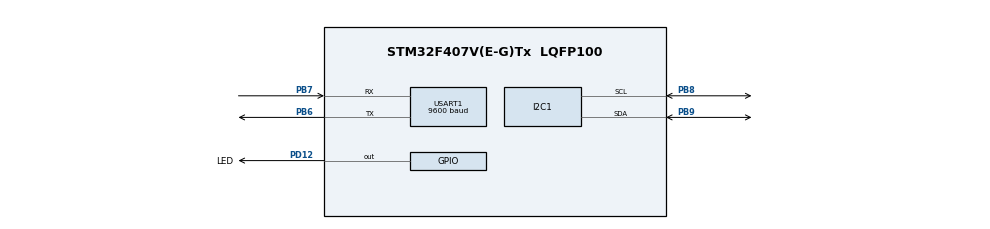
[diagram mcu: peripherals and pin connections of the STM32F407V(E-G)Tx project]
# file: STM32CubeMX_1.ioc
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ADC1.Channel-0\#ChannelRegularConversion=ADC_CHANNEL_TEMPSENSOR
ADC1.EnableAnalogWatchDog=true
ADC1.HighThreshold=2000
ADC1.ITMode=ENABLE
ADC1.InjNumberOfConversion=0
ADC1.LowThreshold=1000
ADC1.NbrOfConversion=1
ADC1.NbrOfConversionFlag=1
ADC1.Rank-0\#ChannelRegularConversion=1
ADC1.SamplingTime-0\#ChannelRegularConversion=ADC_SAMPLETIME_3CYCLES
ADC1.WatchdogMode=ADC_ANALOGWATCHDOG_ALL_REG
ADC1.master=1
I2C1.DutyCycle=I2C_DUTYCYCLE_16_9
I2C1.I2C_Mode=I2C_Fast
I2C1.NoStretchMode=I2C_NOSTRETCH_ENABLE
I2C1.OwnAddress=0x12
Mcu.Family=STM32F4
Mcu.Name=STM32F407V(E-G)Tx
Mcu.Package=LQFP100
NVIC.ADC_IRQn=true\:9\:0\:true\:false\:true\:true\:true\:true
NVIC.PriorityGroup=NVIC_PRIORITYGROUP_4
NVIC.USART1_IRQn=true\:8\:0\:true\:false\:true\:true\:true\:true
PB6.Mode=Asynchronous
PB6.Signal=USART1_TX
PB7.Mode=Asynchronous
PB7.Signal=USART1_RX
PB8.Mode=I2C
PB8.Signal=I2C1_SCL
PB9.Mode=I2C
PB9.Signal=I2C1_SDA
PD12.GPIO_Label=LED
PD12.Signal=GPIO_Output
PH0-OSC_IN.Mode=HSE-External-Oscillator
PH0-OSC_IN.Signal=RCC_OSC_IN
PH1-OSC_OUT.Mode=HSE-External-Oscillator
PH1-OSC_OUT.Signal=RCC_OSC_OUT
ProjectManager.HeapSize=0x800
ProjectManager.StackSize=0x800
ProjectManager.TargetToolchain=STM32CubeIDE
RCC.48MHZClocksFreq_Value=84000000
RCC.AHBFreq_Value=168000000
RCC.APB1CLKDivider=RCC_HCLK_DIV4
RCC.APB1Freq_Value=42000000
RCC.APB1TimFreq_Value=84000000
RCC.APB2CLKDivider=RCC_HCLK_DIV2
RCC.APB2Freq_Value=84000000
RCC.APB2TimFreq_Value=168000000
RCC.CortexFreq_Value=168000000
RCC.HCLKFreq_Value=168000000
RCC.HSE_VALUE=8000000
RCC.HSI_VALUE=16000000
RCC.LSE_VALUE=32768
RCC.PLLM=4
RCC.PLLN=168
RCC.PLLSourceVirtual=RCC_PLLSOURCE_HSE
RCC.RCC_MCO1Source=RCC_MCO1SOURCE_PLLCLK
RCC.SYSCLKFreq_VALUE=168000000
RCC.SYSCLKSource=RCC_SYSCLKSOURCE_PLLCLK
RCC.VCOOutputFreq_Value=336000000
USART1.BaudRate=9600
USART1.Parity=PARITY_ODD
USART1.StopBits=STOPBITS_2
USART1.VirtualMode=VM_ASYNC
VP_ADC1_TempSens_Input.Mode=IN-TempSens
board=custom

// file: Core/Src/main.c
/* USER CODE BEGIN Header */
/**
  ******************************************************************************
  * @file           : main.c
  * @brief          : Main program body
  ******************************************************************************
  * @attention
  *
  * Copyright (c) 2023 STMicroelectronics.
  * All rights reserved.
  *
  * This software is licensed under terms that can be found in the LICENSE file
  * in the root directory of this software component.
  * If no LICENSE file comes with this software, it is provided AS-IS.
  *
  ******************************************************************************
  */
/* USER CODE END Header */
#include "main.h"
#include "adc.h"
#include "i2c.h"
#include "usart.h"
#include "gpio.h"

/* USER CODE BEGIN Includes */
#include <string.h>
#include <stdio.h>
/* USER CODE END Includes */

/* USER CODE BEGIN PTD */
typedef struct {
	float freq;
	float periodo;
	float temperatura;
}IOT_Data_t;
/* USER CODE END PTD */

/* USER CODE BEGIN PD */
#define PERIOD 				100
/* USER CODE END PD */

/* USER CODE BEGIN PM */
#define TEMP_ENABLE
#define SUMA(x, y)			(x + y)
/* USER CODE END PM */

/* USER CODE BEGIN PV */
/**
 * extern
 * volatile
 * static
 */
static IOT_Data_t data;
/* USER CODE END PV */

void SystemClock_Config(void);
/* USER CODE BEGIN PFP */
/**
 * @brief
 */
void led_blink(uint8_t numblinks, uint32_t delay);
/* USER CODE END PFP */

/* USER CODE BEGIN 0 */
#if defined(TEMP_ENABLE)
//todo

#else

//todo

#endif
/* USER CODE END 0 */

int main(void)
{
  /* USER CODE BEGIN 1 */
	uint8_t i = 0;
  /* USER CODE END 1 */

  /* MCU Configuration--------------------------------------------------------*/

  /* Reset of all peripherals, Initializes the Flash interface and the Systick. */
  HAL_Init();

  /* Configure the system clock */
  SystemClock_Config();

  /* Initialize all configured peripherals */
  MX_GPIO_Init();
  MX_ADC1_Init();
  MX_I2C1_Init();
  MX_USART1_UART_Init();
  /* USER CODE BEGIN 2 */
  printf("hola mundo desde STM32CUBEMX\r\n");

  if(1){
	  assert_failed(__FILE__, __LINE__);
  }
  /* USER CODE END 2 */

  /* Infinite loop */
  while (1)
  {

  }
}

void SystemClock_Config(void)
{
  LL_FLASH_SetLatency(LL_FLASH_LATENCY_5);
  while(LL_FLASH_GetLatency()!= LL_FLASH_LATENCY_5)
  {
  }
  LL_PWR_SetRegulVoltageScaling(LL_PWR_REGU_VOLTAGE_SCALE1);
  LL_RCC_HSE_Enable();

   /* Wait till HSE is ready */
  while(LL_RCC_HSE_IsReady() != 1)
  {

  }
  LL_RCC_PLL_ConfigDomain_SYS(LL_RCC_PLLSOURCE_HSE, LL_RCC_PLLM_DIV_4, 168, LL_RCC_PLLP_DIV_2);
  LL_RCC_PLL_Enable();

   /* Wait till PLL is ready */
  while(LL_RCC_PLL_IsReady() != 1)
  {

  }
  LL_RCC_SetAHBPrescaler(LL_RCC_SYSCLK_DIV_1);
  LL_RCC_SetAPB1Prescaler(LL_RCC_APB1_DIV_4);
  LL_RCC_SetAPB2Prescaler(LL_RCC_APB2_DIV_2);
  LL_RCC_SetSysClkSource(LL_RCC_SYS_CLKSOURCE_PLL);

   /* Wait till System clock is ready */
  while(LL_RCC_GetSysClkSource() != LL_RCC_SYS_CLKSOURCE_STATUS_PLL)
  {

  }
  LL_SetSystemCoreClock(168000000);

   /* Update the time base */
  if (HAL_InitTick (TICK_INT_PRIORITY) != HAL_OK)
  {
    Error_Handler();
  }
}

/* USER CODE BEGIN 4 */
void HAL_UART_RxCpltCallback(UART_HandleTypeDef *huart)
{

}
/* USER CODE END 4 */

void Error_Handler(void)
{
  __disable_irq();
  while (1)
  {
  }
}

#ifdef  USE_FULL_ASSERT
/**
  * @brief  Reports the name of the source file and the source line number
  *         where the assert_param error has occurred.
  * @param  file: pointer to the source file name
  * @param  line: assert_param error line source number
  * @retval None
  */
void assert_failed(uint8_t *file, uint32_t line)
{
  /* USER CODE BEGIN 6 */
	printf("Wrong parameters value: file %s on line %d\r\n", file, line);
  /* User can add his own implementation to report the file name and line number,
     ex: printf("Wrong parameters value: file %s on line %d\r\n", file, line) */
  /* USER CODE END 6 */
}
#endif /* USE_FULL_ASSERT */
